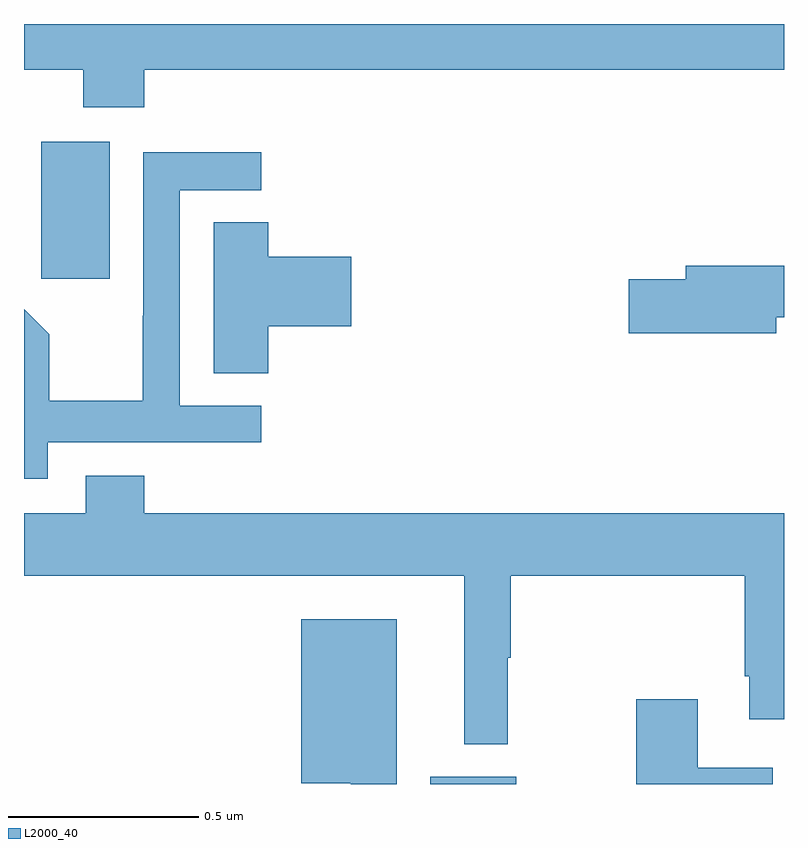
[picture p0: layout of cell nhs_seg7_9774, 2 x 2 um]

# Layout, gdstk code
import gdstk
lib = gdstk.Library(unit=1e-6, precision=1e-09)
def R(c, l, rs):  # rectangles x0, y0, x1, y1
    for r in rs: c.add(gdstk.rectangle(r[:2], r[2:], *l))
def P(c, l, *ps):  # polygons
    for p in ps: c.add(gdstk.Polygon(p, *l))
L2000_40 = (2000, 40)

nhs_seg7_9774 = lib.new_cell('nhs_seg7_9774')
R(nhs_seg7_9774, L2000_40, [(242.069,1068,242.296,1068.019), (241.046,1069.329,241.225,1069.69)])
P(nhs_seg7_9774, L2000_40, [(241.316,1069.88),(243,1069.88),(243,1070),(241,1070),(241,1069.88),(241.156,1069.88),(241.156,1069.781),(241.316,1069.781)],
  [(241.062,1068.9),(241.624,1068.9),(241.624,1068.996),(241.41,1068.996),(241.41,1069.563),(241.624,1069.563),(241.624,1069.662),(241.314,1069.662),(241.314,1069.232),(241.312,1069.232),(241.312,1069.009),(241.067,1069.009),(241.067,1069.183),(241,1069.25),(241,1068.803),(241.062,1068.803)],
  [(241.643,1069.205),(241.861,1069.205),(241.861,1069.388),(241.643,1069.388),(241.643,1069.478),(241.499,1069.478),(241.499,1069.081),(241.643,1069.081)],
  [(242.98,1069.228),(243,1069.228),(243,1069.364),(242.741,1069.364),(242.741,1069.328),(242.592,1069.328),(242.592,1069.186),(242.98,1069.186)],
  [(242.273,1068.332),(242.281,1068.332),(242.281,1068.548),(242.897,1068.548),(242.897,1068.283),(242.909,1068.283),(242.909,1068.171),(243,1068.171),(243,1068.712),(241.316,1068.712),(241.316,1068.811),(241.163,1068.811),(241.163,1068.712),(241,1068.712),(241,1068.548),(242.159,1068.548),(242.159,1068.104),(242.273,1068.104)],
  [(241.981,1068.433),(241.73,1068.433),(241.73,1068.002),(241.86,1068.002),(241.86,1068),(241.981,1068)],
  [(242.971,1068.043),(242.773,1068.043),(242.773,1068.223),(242.611,1068.223),(242.611,1068),(242.971,1068)])

lib.write_gds('nhs_seg7_9774.gds')
